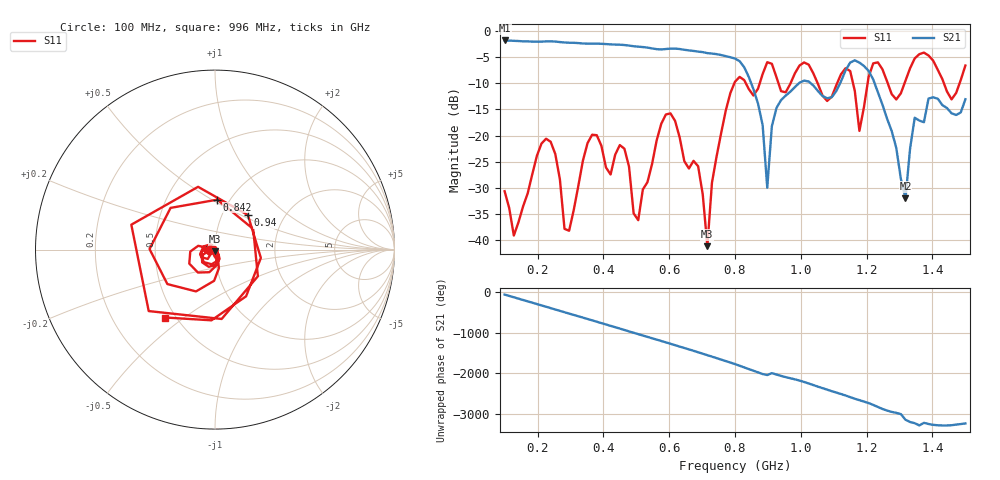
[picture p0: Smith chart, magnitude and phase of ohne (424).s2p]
! NanoVNA-App
! Date: 2025-09-25 14:24:05
! Start: 100MHz Stop: 1,5GHz Points: 101
! S-Parameter data: F S11 S21 S12 S22
# Hz S RI R 50
!  Frequency  S11_Real  S11_Imag  S21_Real  S21_Imag  S12_Real  S12_Imag  S22_Real  S22_Imag
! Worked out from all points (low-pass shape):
!   101 points, 100 MHz to 1.5 GHz, reference 50 ohm
!   highest |S21| = -1.79 dB at 100 MHz (marker M1); lowest = -32.0 dB at 1.318 GHz (marker M2)
!   |S21| within 3 dB of the highest: start of sweep to 771.8 MHz
!   lowest |S11| = -41.2 dB at 716 MHz (marker M3), VSWR 1.02, Z = 49.8 - j0.845 ohm
!   |S11| at or under -10 dB: start of sweep to 798 MHz; 833 MHz to 875.1 MHz (42.05 MHz wide, 4.92 % of centre); 1.051 GHz to 1.11 GHz (59.05 MHz wide, 5.46 % of centre) (the widest 3 of 7)
!   S12 and S22 are empty: the file has one direction only
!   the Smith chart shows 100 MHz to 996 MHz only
!   S11 on the Smith chart (normalised r, x): 100 MHz: 0.94, -0.01; 842 MHz: 0.88, +0.53; 940 MHz: 1.32, +0.55; 996 MHz: 0.44, -0.43
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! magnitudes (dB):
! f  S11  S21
! 100 MHz  -30.6  -1.8
! 128 MHz  -39.1  -1.9
! 226 MHz  -20.6  -2.0
! 296 MHz  -38.2  -2.2
! 338 MHz  -24.8  -2.4
! 464 MHz  -22.5  -2.7
! 506 MHz  -36.2  -3.0
! 576 MHz  -17.7  -3.5
! 688 MHz  -25.9  -3.9
! 716 MHz  -41.2  -4.2
! 800 MHz  -9.7  -5.3
! 842 MHz  -11.1  -8.8
! 898 MHz  -6.0  -30.0
! 940 MHz  -11.5  -13.2
! 996 MHz  -6.6  -9.9
! 1.038 GHz  -8.1  -10.4
! 1.178 GHz  -19.1  -6.0
! 1.22 GHz  -6.2  -9.3
! 1.276 GHz  -12.1  -19.1
! 1.318 GHz  -9.5  -32.0
! 1.346 GHz  -5.2  -16.6
! 1.5 GHz  -6.6  -13.0
